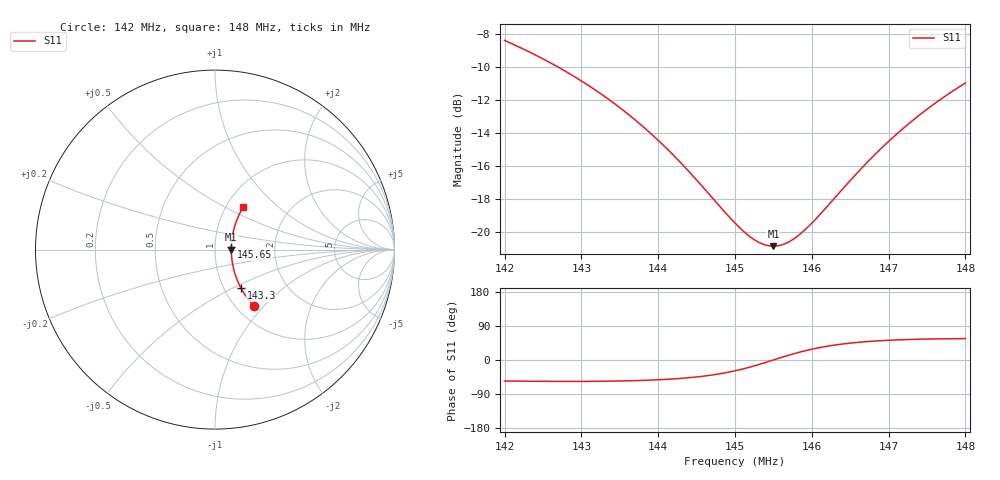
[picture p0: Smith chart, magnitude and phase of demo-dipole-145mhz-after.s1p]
! Antenna Calculator example - synthetic VNA sweep of a 2 m band dipole.
! After trimming both dipole arms. Target frequency: 145.500 MHz.
! Same measurement plane at the feedpoint for both traces (assumed SOL calibration).
! Series RLC model: resonance 145.500 MHz, R 60.0 ohm, Q 15.0.
! Sweep 142 to 148 MHz in 50 kHz steps.
# MHz S RI R 50
! Frequency (MHz)  Re(S11)  Im(S11)
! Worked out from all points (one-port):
!   121 points, 142 MHz to 148 MHz, reference 50 ohm
!   lowest |S11| = -20.8 dB at 145.5 MHz (marker M1), VSWR 1.20, Z = 60 + j0 ohm
!   |S11| at or under -10 dB: 142.69 MHz to end of sweep
!   S11 on the Smith chart (normalised r, x): 142 MHz: 1.20, -0.88; 143.3 MHz: 1.20, -0.55; 145.65 MHz: 1.20, +0.04; 148 MHz: 1.20, +0.61
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142  0.2155 -0.3126
142.4  0.1914 -0.285
142.75  0.1717 -0.2587
143.05  0.1561 -0.2345
143.3  0.1441 -0.2134
143.5  0.1353 -0.1959
143.7  0.1271 -0.1778
143.9  0.1197 -0.1593
144.1  0.1131 -0.1403
144.25  0.1087 -0.1258
144.45  0.1035 -0.1063
145  0.0938 -0.051
145.15  0.0923 -0.0358
145.25  0.0916 -0.0256
145.35  0.0912 -0.0153
145.4  0.091 -0.0102
145.5  0.0909 0
145.55  0.0909 0.00511
145.65  0.0912 0.0153
145.75  0.0916 0.0255
145.85  0.0923 0.0357
146  0.0938 0.0509
146.5  0.1022 0.1006
146.7  0.107 0.12
146.9  0.1127 0.139
147.25  0.1244 0.1713
147.6  0.1383 0.2021
148  0.1565 0.2352
